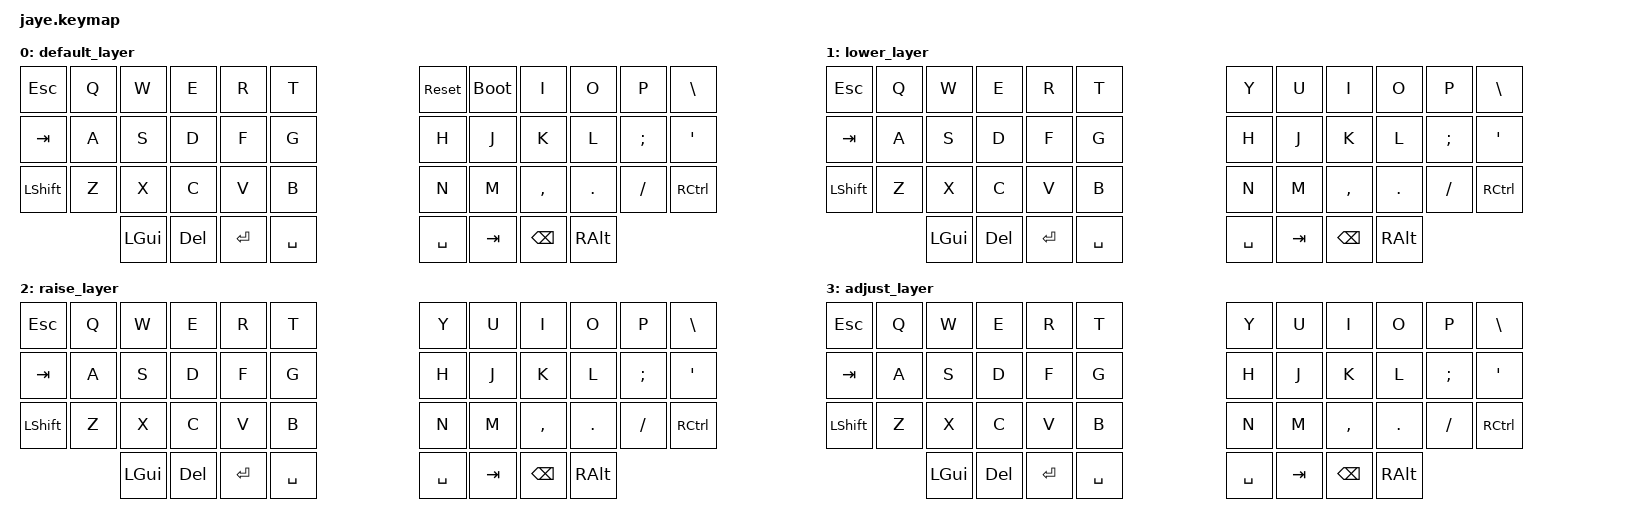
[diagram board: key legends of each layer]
/*
 * Copyright (c) 2020 The ZMK Contributors
 *
 * SPDX-License-Identifier: MIT
 */

#include <behaviors.dtsi>
#include <dt-bindings/zmk/keys.h>
#include <dt-bindings/zmk/bt.h>
#include <dt-bindings/zmk/outputs.h>


#define DEF 0
#define LWR 1
#define RSE 2
#define ADJ 3

/ {
    keymap {
        compatible = "zmk,keymap";

        default_layer {

// |   ESC   |    Q    |    W    |    E    |    R    |    T    |                                          |    Y    |    U    |    I    |    O    |    P    |    \    |
// |   TAB   |    A    |    S    |    D    |    F    |    G    |                                          |    H    |    J    |    K    |    L    |    ;    |    '    |
// |   GUI   |    Z    |    X    |    C    |    V    |    B    |                                          |    N    |    M    |    ,    |    .    |    /    |  R CTRL |
//                     |   GUI   |   DEL   | RETURN  |  SPACE  |                                          |  SHIFT  |   ENTER   |   BSPC  |  R ALT  |

            bindings = <
    &kp ESC    &kp Q    &kp W    &kp E     &kp R     &kp T                                                 &sys_reset &bootloader  &kp I     &kp O     &kp P    &kp BSLH
    &kp TAB    &kp A    &kp S    &kp D     &kp F     &kp G                                                 &kp H     &kp J     &kp K     &kp L     &kp SEMI &kp SQT
    &kp LSHIFT &kp Z    &kp X    &kp C     &kp V     &kp B                                                 &kp N     &kp M     &kp COMMA &kp DOT   &kp FSLH &kp RCTRL
                      &kp LGUI  &kp DEL   &kp RET    &kp SPACE                                             &kp SPACE &kp TAB   &kp BSPC  &kp RALT
            >;

            
        };

  

        lower_layer {

            bindings = <
    &kp ESC    &kp Q    &kp W    &kp E     &kp R     &kp T                                                 &kp Y     &kp U     &kp I     &kp O     &kp P    &kp BSLH
    &kp TAB    &kp A    &kp S    &kp D     &kp F     &kp G                                                 &kp H     &kp J     &kp K     &kp L     &kp SEMI &kp SQT
    &kp LSHIFT &kp Z    &kp X    &kp C     &kp V     &kp B                                                 &kp N     &kp M     &kp COMMA &kp DOT   &kp FSLH &kp RCTRL
                      &kp LGUI  &kp DEL   &kp RET    &kp SPACE                                             &kp SPACE &kp TAB   &kp BSPC  &kp RALT
            >;

            
        };


        raise_layer {

            bindings = <
    &kp ESC    &kp Q    &kp W    &kp E     &kp R     &kp T                                                 &kp Y     &kp U     &kp I     &kp O     &kp P    &kp BSLH
    &kp TAB    &kp A    &kp S    &kp D     &kp F     &kp G                                                 &kp H     &kp J     &kp K     &kp L     &kp SEMI &kp SQT
    &kp LSHIFT &kp Z    &kp X    &kp C     &kp V     &kp B                                                 &kp N     &kp M     &kp COMMA &kp DOT   &kp FSLH &kp RCTRL
                      &kp LGUI  &kp DEL   &kp RET    &kp SPACE                                             &kp SPACE &kp TAB   &kp BSPC  &kp RALT
            >;

            
        };




        adjust_layer {

            bindings = <
    &kp ESC    &kp Q    &kp W    &kp E     &kp R     &kp T                                                 &kp Y     &kp U     &kp I     &kp O     &kp P    &kp BSLH
    &kp TAB    &kp A    &kp S    &kp D     &kp F     &kp G                                                 &kp H     &kp J     &kp K     &kp L     &kp SEMI &kp SQT
    &kp LSHIFT &kp Z    &kp X    &kp C     &kp V     &kp B                                                 &kp N     &kp M     &kp COMMA &kp DOT   &kp FSLH &kp RCTRL
                      &kp LGUI  &kp DEL   &kp RET    &kp SPACE                                             &kp SPACE &kp TAB   &kp BSPC  &kp RALT
            >;

            
        };
    };

};


